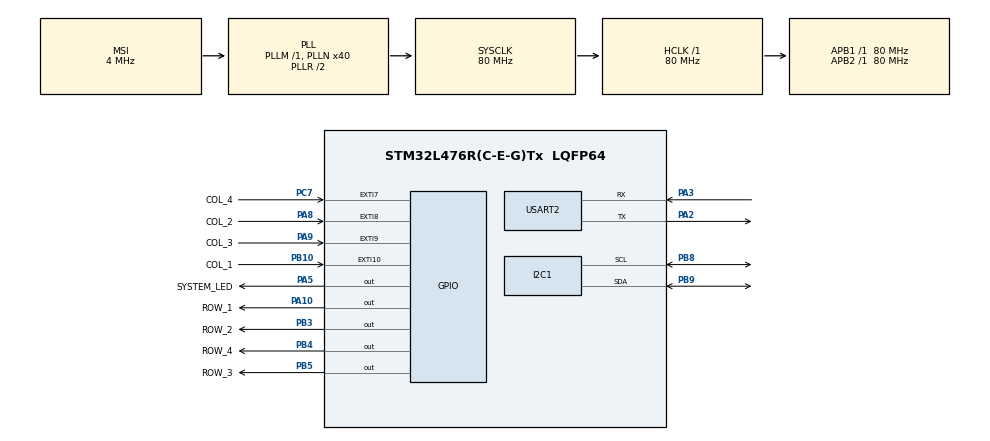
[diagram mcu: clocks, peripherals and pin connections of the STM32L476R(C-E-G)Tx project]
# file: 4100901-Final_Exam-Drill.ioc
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I2C1.Timing=0x10909CEC
Mcu.Family=STM32L4
Mcu.Name=STM32L476R(C-E-G)Tx
Mcu.Package=LQFP64
NVIC.EXTI15_10_IRQn=true\:0\:0\:false\:false\:true\:true\:true\:true
NVIC.EXTI9_5_IRQn=true\:0\:0\:false\:false\:true\:true\:true\:true
NVIC.I2C1_ER_IRQn=true\:0\:0\:false\:false\:true\:true\:true\:true
NVIC.I2C1_EV_IRQn=true\:0\:0\:false\:false\:true\:true\:true\:true
NVIC.PriorityGroup=NVIC_PRIORITYGROUP_4
NVIC.USART2_IRQn=true\:0\:0\:false\:false\:true\:true\:true\:true
PA10.GPIO_Label=ROW_1
PA10.PinState=GPIO_PIN_SET
PA10.Signal=GPIO_Output
PA2.Mode=Asynchronous
PA2.Signal=USART2_TX
PA3.Mode=Asynchronous
PA3.Signal=USART2_RX
PA5.GPIO_Label=SYSTEM_LED
PA5.Signal=GPIO_Output
PA8.GPIO_Label=COL_2
PA8.GPIO_ModeDefaultEXTI=GPIO_MODE_IT_RISING
PA8.GPIO_PuPd=GPIO_PULLDOWN
PA8.Signal=GPXTI8
PA9.GPIO_Label=COL_3
PA9.GPIO_ModeDefaultEXTI=GPIO_MODE_IT_RISING
PA9.GPIO_PuPd=GPIO_PULLDOWN
PA9.Signal=GPXTI9
PB10.GPIO_Label=COL_1
PB10.GPIO_ModeDefaultEXTI=GPIO_MODE_IT_RISING
PB10.GPIO_PuPd=GPIO_PULLDOWN
PB10.Signal=GPXTI10
PB3\ (JTDO-TRACESWO).GPIO_Label=ROW_2
PB3\ (JTDO-TRACESWO).PinState=GPIO_PIN_SET
PB3\ (JTDO-TRACESWO).Signal=GPIO_Output
PB4\ (NJTRST).GPIO_Label=ROW_4
PB4\ (NJTRST).PinState=GPIO_PIN_SET
PB4\ (NJTRST).Signal=GPIO_Output
PB5.GPIO_Label=ROW_3
PB5.PinState=GPIO_PIN_SET
PB5.Signal=GPIO_Output
PB8.Mode=I2C
PB8.Signal=I2C1_SCL
PB9.Mode=I2C
PB9.Signal=I2C1_SDA
PC7.GPIO_Label=COL_4
PC7.GPIO_ModeDefaultEXTI=GPIO_MODE_IT_RISING
PC7.GPIO_PuPd=GPIO_PULLDOWN
PC7.Signal=GPXTI7
PH0-OSC_IN\ (PH0).Mode=HSE-External-Oscillator
PH0-OSC_IN\ (PH0).Signal=RCC_OSC_IN
PH1-OSC_OUT\ (PH1).Mode=HSE-External-Oscillator
PH1-OSC_OUT\ (PH1).Signal=RCC_OSC_OUT
ProjectManager.HeapSize=0x200
ProjectManager.StackSize=0x400
ProjectManager.TargetToolchain=STM32CubeIDE
RCC.AHBFreq_Value=80000000
RCC.APB1Freq_Value=80000000
RCC.APB1TimFreq_Value=80000000
RCC.APB2Freq_Value=80000000
RCC.APB2TimFreq_Value=80000000
RCC.CortexFreq_Value=80000000
RCC.HCLKFreq_Value=80000000
RCC.HSE_VALUE=8000000
RCC.HSI_VALUE=16000000
RCC.LSE_VALUE=32768
RCC.MSI_VALUE=4000000
RCC.PLLN=40
RCC.SYSCLKFreq_VALUE=80000000
RCC.SYSCLKSource=RCC_SYSCLKSOURCE_PLLCLK
RCC.VCOOutputFreq_Value=160000000
USART2.VirtualMode-Asynchronous=VM_ASYNC
board=custom

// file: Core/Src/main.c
/* USER CODE BEGIN Header */
/**
  ******************************************************************************
  * @file           : main.c
  * @brief          : Main program body
  ******************************************************************************
  * @attention
  *
  * Copyright (c) 2024 STMicroelectronics.
  * All rights reserved.
  *
  * This software is licensed under terms that can be found in the LICENSE file
  * in the root directory of this software component.
  * If no LICENSE file comes with this software, it is provided AS-IS.
  *
  ******************************************************************************
  */
/* USER CODE END Header */
#include "main.h"

/* USER CODE BEGIN Includes */
#include <stdio.h>
#include "status.h"
#include <string.h>

#define OLED_ADDRESS 0x3C
/* USER CODE END Includes */

I2C_HandleTypeDef hi2c1;

UART_HandleTypeDef huart2;

/* USER CODE BEGIN PV */
int state = 0; //ESTADO DEL SISTEMA
uint8_t claveIngresada[10];
uint8_t claveCorrecta[10] = {1,0,8,7,7,0,5,98,4,4}; //DOCUMENTO
uint8_t cindex = 0;
uint8_t claveVerificada = 0;

//UART MENSAJES
char successMsg[] = "Success\r\n";
char errorMsg[] = "Error\r\n";

/* USER CODE END PV */

void SystemClock_Config(void);
static void MX_GPIO_Init(void);
static void MX_USART2_UART_Init(void);
static void MX_I2C1_Init(void);
/* USER CODE BEGIN PFP */
uint8_t detectarTecla(uint16_t GPIO_Pin);  // Prototipo de la función detectarTecla
//void mostrarError(void);  // Prototipo de la función mostrarError
//void mostrarExito(void);  // Prototipo de la función mostrarExito
void actualizarDisplay(uint8_t *clave, uint8_t size);  // Prototipo de la función actualizarDisplay
/* USER CODE END PFP */

/* USER CODE BEGIN 0 */
int _write(int file, char *ptr, int len)
{
  // to using printf
  HAL_UART_Transmit(&huart2, (uint8_t *)ptr, len, 10);
  return len;
}

uint8_t detectarTecla(uint16_t GPIO_Pin) {
    uint8_t tecla = 0xFF;  // Valor por defecto para error/no tecla detectada

    // Suponiendo que las filas son controladas por pines GPIO y las columnas son las que generan interrupciones
    // Primero se activan las filas secuencialmente para detectar la columna correspondiente.

    // Activar ROW_1
    HAL_GPIO_WritePin(ROW_1_GPIO_Port, ROW_1_Pin, GPIO_PIN_RESET);
    HAL_GPIO_WritePin(ROW_2_GPIO_Port, ROW_2_Pin, GPIO_PIN_SET);
    HAL_GPIO_WritePin(ROW_3_GPIO_Port, ROW_3_Pin, GPIO_PIN_SET);
    HAL_GPIO_WritePin(ROW_4_GPIO_Port, ROW_4_Pin, GPIO_PIN_SET);

    // Verificar qué columna generó la interrupción
    if (GPIO_Pin == COL_1_Pin) {
        tecla = 1;
    } else if (GPIO_Pin == COL_2_Pin) {
        tecla = 2;
    } else if (GPIO_Pin == COL_3_Pin) {
        tecla = 3;
    } else if (GPIO_Pin == COL_4_Pin) {
        tecla = 10;  // Aquí se puede asignar a una función especial, como '*'
    }

    // Activar ROW_2
    HAL_GPIO_WritePin(ROW_1_GPIO_Port, ROW_1_Pin, GPIO_PIN_SET);
    HAL_GPIO_WritePin(ROW_2_GPIO_Port, ROW_2_Pin, GPIO_PIN_RESET);
    HAL_GPIO_WritePin(ROW_3_GPIO_Port, ROW_3_Pin, GPIO_PIN_SET);
    HAL_GPIO_WritePin(ROW_4_GPIO_Port, ROW_4_Pin, GPIO_PIN_SET);

    // Verificar qué columna generó la interrupción
    if (GPIO_Pin == COL_1_Pin) {
        tecla = 4;
    } else if (GPIO_Pin == COL_2_Pin) {
        tecla = 5;
    } else if (GPIO_Pin == COL_3_Pin) {
        tecla = 6;
    } else if (GPIO_Pin == COL_4_Pin) {
        tecla = 11;  // Aquí se puede asignar a una función especial, como '0'
    }

    // Activar ROW_3
    HAL_GPIO_WritePin(ROW_1_GPIO_Port, ROW_1_Pin, GPIO_PIN_SET);
    HAL_GPIO_WritePin(ROW_2_GPIO_Port, ROW_2_Pin, GPIO_PIN_SET);
    HAL_GPIO_WritePin(ROW_3_GPIO_Port, ROW_3_Pin, GPIO_PIN_RESET);
    HAL_GPIO_WritePin(ROW_4_GPIO_Port, ROW_4_Pin, GPIO_PIN_SET);

    // Verificar qué columna generó la interrupción
    if (GPIO_Pin == COL_1_Pin) {
        tecla = 7;
    } else if (GPIO_Pin == COL_2_Pin) {
        tecla = 8;
    } else if (GPIO_Pin == COL_3_Pin) {
        tecla = 9;
    } else if (GPIO_Pin == COL_4_Pin) {
        tecla = 12;  // Aquí se puede asignar a una función especial, como '#'
    }

    // Activar ROW_4
    HAL_GPIO_WritePin(ROW_1_GPIO_Port, ROW_1_Pin, GPIO_PIN_SET);
    HAL_GPIO_WritePin(ROW_2_GPIO_Port, ROW_2_Pin, GPIO_PIN_SET);
    HAL_GPIO_WritePin(ROW_3_GPIO_Port, ROW_3_Pin, GPIO_PIN_SET);
    HAL_GPIO_WritePin(ROW_4_GPIO_Port, ROW_4_Pin, GPIO_PIN_RESET);

    // Verificar qué columna generó la interrupción
    if (GPIO_Pin == COL_1_Pin) {
        tecla = '*';  // Función especial
    } else if (GPIO_Pin == COL_2_Pin) {
        tecla = 0;
    } else if (GPIO_Pin == COL_3_Pin) {
        tecla = '#';  // Función especial
    } else if (GPIO_Pin == COL_4_Pin) {
        tecla = 13;  // Otra función especial si es necesario
    }

    // Restaurar el estado inicial de las filas (todas en alto)
    HAL_GPIO_WritePin(ROW_1_GPIO_Port, ROW_1_Pin, GPIO_PIN_SET);
    HAL_GPIO_WritePin(ROW_2_GPIO_Port, ROW_2_Pin, GPIO_PIN_SET);
    HAL_GPIO_WritePin(ROW_3_GPIO_Port, ROW_3_Pin, GPIO_PIN_SET);
    HAL_GPIO_WritePin(ROW_4_GPIO_Port, ROW_4_Pin, GPIO_PIN_SET);

    return tecla;  // Devolver la tecla presionada
}
void HAL_GPIO_EXTI_Callback(uint16_t GPIO_Pin) {
    if (GPIO_Pin == COL_1_Pin || GPIO_Pin == COL_2_Pin || GPIO_Pin == COL_3_Pin || GPIO_Pin == COL_4_Pin) {
        // Detecta y actualiza la clave ingresada
        if (cindex < 10) {  // Asegúrate de no superar el tamaño del buffer
            uint8_t tecla = detectarTecla(GPIO_Pin);
            if (tecla == '*' && cindex > 0) {
                // Reinicia la secuencia
                cindex = 0;
                claveIngresada[cindex] = '\0'; // Limpiar clave ingresada
                actualizarDisplay(claveIngresada, cindex);
            } else if (tecla == '#' && cindex > 0) {
                // Verifica la clave
                claveVerificada = 1;
                actualizarDisplay(claveIngresada, cindex);
            } else if (tecla >= 0 && tecla <= 9 && cindex < 10) {
                // Solo almacena teclas numéricas y controla el índice
                claveIngresada[cindex++] = tecla;
                actualizarDisplay(claveIngresada, cindex);
            }
        }
    }
}

void verificarClave() {
    if (claveVerificada) {
        int correct = 1;
        for (int i = 0; i < 10; i++) {
            if (claveIngresada[i] != claveCorrecta[i]) {
                correct = 0;
                break;
            }
        }
        if (correct) {
            LED_SetState(LED_ON);
            HAL_UART_Transmit(&huart2, (const uint8_t*)successMsg, sizeof(successMsg) - 1, 100);
            HAL_Delay(3000); // Mantén el LED encendido por 3 segundos
            LED_SetState(LED_OFF); // Apaga el LED después de 3 segundos
        } else {
            LED_SetState(LED_BLINK); // Parpadea el LED en caso de error
            HAL_UART_Transmit(&huart2, (const uint8_t*)errorMsg, sizeof(errorMsg) - 1, 100);
        }
        claveVerificada = 0; // Restablece el estado de la verificación
        cindex = 0; // Reinicia el índice de la clave ingresada
        memset(claveIngresada, 0, sizeof(claveIngresada)); // Limpia el buffer de clave
    }
}

void actualizarDisplay(uint8_t *clave, uint8_t size) {
    // Mostrar la clave ingresada
    HAL_I2C_Master_Transmit(&hi2c1, OLED_ADDRESS, clave, size, HAL_MAX_DELAY);

    // Si la clave ha sido verificada, mostrar el mensaje de éxito o error
    if (claveVerificada) {
        if (clave[0] == '#') {
            HAL_I2C_Master_Transmit(&hi2c1, OLED_ADDRESS, (uint8_t *)successMsg, sizeof(successMsg) - 1, HAL_MAX_DELAY);
        } else {
            HAL_I2C_Master_Transmit(&hi2c1, OLED_ADDRESS, (uint8_t *)errorMsg, sizeof(errorMsg) - 1, HAL_MAX_DELAY);
        }
    }
}

/* USER CODE END 0 */

int main(void)
{

  /* USER CODE BEGIN 1 */
//HAL_Init();
//LED_Init(GPIOA, GPIO_PIN_5);
	huart2.Init.BaudRate = 256000;  // Cambia la velocidad a 256000 baudios

  /* USER CODE END 1 */

  /* MCU Configuration--------------------------------------------------------*/

  /* Reset of all peripherals, Initializes the Flash interface and the Systick. */
  HAL_Init();

  /* Configure the system clock */
  SystemClock_Config();

  /* Initialize all configured peripherals */
  MX_GPIO_Init();
  MX_USART2_UART_Init();
  MX_I2C1_Init();

  /* Infinite loop */
  /* USER CODE BEGIN WHILE */
  printf("Starting...\r\n");
  while (1)
  {
    /* USER CODE END WHILE */
	  while (1) {
	      // Mensaje de depuración
	      printf("Estado del sistema: %d\r\n", state);

	      // Añadir otras tareas según sea necesario

	      // Añadir una pequeña espera para evitar sobrecargar el procesador
	      HAL_Delay(100);
	  }

  }
}

void SystemClock_Config(void)
{
  RCC_OscInitTypeDef RCC_OscInitStruct = {0};
  RCC_ClkInitTypeDef RCC_ClkInitStruct = {0};

  /** Configure the main internal regulator output voltage
  */
  if (HAL_PWREx_ControlVoltageScaling(PWR_REGULATOR_VOLTAGE_SCALE1) != HAL_OK)
  {
    Error_Handler();
  }

  /** Initializes the RCC Oscillators according to the specified parameters
  * in the RCC_OscInitTypeDef structure.
  */
  RCC_OscInitStruct.OscillatorType = RCC_OSCILLATORTYPE_MSI;
  RCC_OscInitStruct.MSIState = RCC_MSI_ON;
  RCC_OscInitStruct.MSICalibrationValue = 0;
  RCC_OscInitStruct.MSIClockRange = RCC_MSIRANGE_6;
  RCC_OscInitStruct.PLL.PLLState = RCC_PLL_ON;
  RCC_OscInitStruct.PLL.PLLSource = RCC_PLLSOURCE_MSI;
  RCC_OscInitStruct.PLL.PLLM = 1;
  RCC_OscInitStruct.PLL.PLLN = 40;
  RCC_OscInitStruct.PLL.PLLP = RCC_PLLP_DIV7;
  RCC_OscInitStruct.PLL.PLLQ = RCC_PLLQ_DIV2;
  RCC_OscInitStruct.PLL.PLLR = RCC_PLLR_DIV2;
  if (HAL_RCC_OscConfig(&RCC_OscInitStruct) != HAL_OK)
  {
    Error_Handler();
  }

  /** Initializes the CPU, AHB and APB buses clocks
  */
  RCC_ClkInitStruct.ClockType = RCC_CLOCKTYPE_HCLK|RCC_CLOCKTYPE_SYSCLK
                              |RCC_CLOCKTYPE_PCLK1|RCC_CLOCKTYPE_PCLK2;
  RCC_ClkInitStruct.SYSCLKSource = RCC_SYSCLKSOURCE_PLLCLK;
  RCC_ClkInitStruct.AHBCLKDivider = RCC_SYSCLK_DIV1;
  RCC_ClkInitStruct.APB1CLKDivider = RCC_HCLK_DIV1;
  RCC_ClkInitStruct.APB2CLKDivider = RCC_HCLK_DIV1;

  if (HAL_RCC_ClockConfig(&RCC_ClkInitStruct, FLASH_LATENCY_4) != HAL_OK)
  {
    Error_Handler();
  }
}

static void MX_I2C1_Init(void)
{

  hi2c1.Instance = I2C1;
  hi2c1.Init.Timing = 0x10909CEC;
  hi2c1.Init.OwnAddress1 = 0;
  hi2c1.Init.AddressingMode = I2C_ADDRESSINGMODE_7BIT;
  hi2c1.Init.DualAddressMode = I2C_DUALADDRESS_DISABLE;
  hi2c1.Init.OwnAddress2 = 0;
  hi2c1.Init.OwnAddress2Masks = I2C_OA2_NOMASK;
  hi2c1.Init.GeneralCallMode = I2C_GENERALCALL_DISABLE;
  hi2c1.Init.NoStretchMode = I2C_NOSTRETCH_DISABLE;
  if (HAL_I2C_Init(&hi2c1) != HAL_OK)
  {
    Error_Handler();
  }

  /** Configure Analogue filter
  */
  if (HAL_I2CEx_ConfigAnalogFilter(&hi2c1, I2C_ANALOGFILTER_ENABLE) != HAL_OK)
  {
    Error_Handler();
  }

  /** Configure Digital filter
  */
  if (HAL_I2CEx_ConfigDigitalFilter(&hi2c1, 0) != HAL_OK)
  {
    Error_Handler();
  }

}

static void MX_USART2_UART_Init(void)
{

  huart2.Instance = USART2;
  huart2.Init.BaudRate = 115200;
  huart2.Init.WordLength = UART_WORDLENGTH_8B;
  huart2.Init.StopBits = UART_STOPBITS_1;
  huart2.Init.Parity = UART_PARITY_NONE;
  huart2.Init.Mode = UART_MODE_TX_RX;
  huart2.Init.HwFlowCtl = UART_HWCONTROL_NONE;
  huart2.Init.OverSampling = UART_OVERSAMPLING_16;
  huart2.Init.OneBitSampling = UART_ONE_BIT_SAMPLE_DISABLE;
  huart2.AdvancedInit.AdvFeatureInit = UART_ADVFEATURE_NO_INIT;
  if (HAL_UART_Init(&huart2) != HAL_OK)
  {
    Error_Handler();
  }

}

static void MX_GPIO_Init(void)
{
  GPIO_InitTypeDef GPIO_InitStruct = {0};

  /* GPIO Ports Clock Enable */
  __HAL_RCC_GPIOH_CLK_ENABLE();
  __HAL_RCC_GPIOA_CLK_ENABLE();
  __HAL_RCC_GPIOB_CLK_ENABLE();
  __HAL_RCC_GPIOC_CLK_ENABLE();

  /*Configure GPIO pin Output Level */
  HAL_GPIO_WritePin(SYSTEM_LED_GPIO_Port, SYSTEM_LED_Pin, GPIO_PIN_RESET);

  /*Configure GPIO pin Output Level */
  HAL_GPIO_WritePin(ROW_1_GPIO_Port, ROW_1_Pin, GPIO_PIN_SET);

  /*Configure GPIO pin Output Level */
  HAL_GPIO_WritePin(GPIOB, ROW_2_Pin|ROW_4_Pin|ROW_3_Pin, GPIO_PIN_SET);

  /*Configure GPIO pins : SYSTEM_LED_Pin ROW_1_Pin */
  GPIO_InitStruct.Pin = SYSTEM_LED_Pin|ROW_1_Pin;
  GPIO_InitStruct.Mode = GPIO_MODE_OUTPUT_PP;
  GPIO_InitStruct.Pull = GPIO_NOPULL;
  GPIO_InitStruct.Speed = GPIO_SPEED_FREQ_LOW;
  HAL_GPIO_Init(GPIOA, &GPIO_InitStruct);

  /*Configure GPIO pin : COL_1_Pin */
  GPIO_InitStruct.Pin = COL_1_Pin;
  GPIO_InitStruct.Mode = GPIO_MODE_IT_RISING;
  GPIO_InitStruct.Pull = GPIO_PULLDOWN;
  HAL_GPIO_Init(COL_1_GPIO_Port, &GPIO_InitStruct);

  /*Configure GPIO pin : COL_4_Pin */
  GPIO_InitStruct.Pin = COL_4_Pin;
  GPIO_InitStruct.Mode = GPIO_MODE_IT_RISING;
  GPIO_InitStruct.Pull = GPIO_PULLDOWN;
  HAL_GPIO_Init(COL_4_GPIO_Port, &GPIO_InitStruct);

  /*Configure GPIO pins : COL_2_Pin COL_3_Pin */
  GPIO_InitStruct.Pin = COL_2_Pin|COL_3_Pin;
  GPIO_InitStruct.Mode = GPIO_MODE_IT_RISING;
  GPIO_InitStruct.Pull = GPIO_PULLDOWN;
  HAL_GPIO_Init(GPIOA, &GPIO_InitStruct);

  /*Configure GPIO pins : ROW_2_Pin ROW_4_Pin ROW_3_Pin */
  GPIO_InitStruct.Pin = ROW_2_Pin|ROW_4_Pin|ROW_3_Pin;
  GPIO_InitStruct.Mode = GPIO_MODE_OUTPUT_PP;
  GPIO_InitStruct.Pull = GPIO_NOPULL;
  GPIO_InitStruct.Speed = GPIO_SPEED_FREQ_LOW;
  HAL_GPIO_Init(GPIOB, &GPIO_InitStruct);

  /* EXTI interrupt init*/
  HAL_NVIC_SetPriority(EXTI9_5_IRQn, 0, 0);
  HAL_NVIC_EnableIRQ(EXTI9_5_IRQn);

  HAL_NVIC_SetPriority(EXTI15_10_IRQn, 0, 0);
  HAL_NVIC_EnableIRQ(EXTI15_10_IRQn);

}

void Error_Handler(void)
{
  __disable_irq();
  while (1){
 }
}
